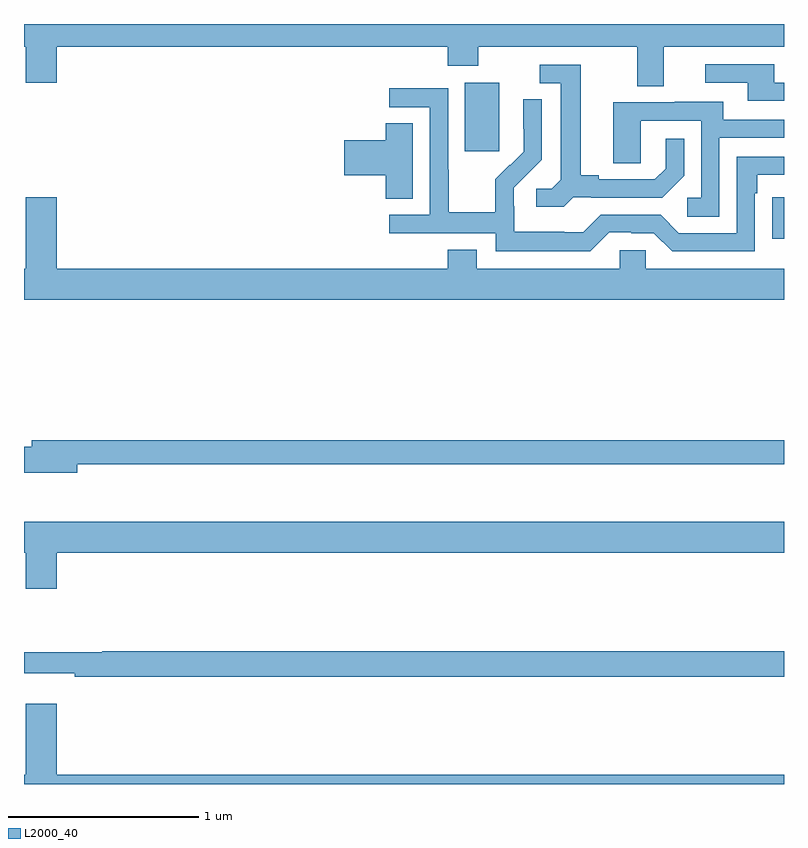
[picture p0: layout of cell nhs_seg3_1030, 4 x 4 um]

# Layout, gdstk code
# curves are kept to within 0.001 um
import gdstk
lib = gdstk.Library(unit=1e-6, precision=1e-09)
def R(c, l, rs):  # rectangles x0, y0, x1, y1
    for r in rs: c.add(gdstk.rectangle(r[:2], r[2:], *l))
def P(c, l, *ps):  # polygons
    for p in ps: c.add(gdstk.Polygon(p, *l))
L2000_40 = (2000, 40)

nhs_seg3_1030 = lib.new_cell('nhs_seg3_1030')
R(nhs_seg3_1030, L2000_40, [(168.937,669.27,169,669.488), (167.321,669.729,167.5,670.09)])
P(nhs_seg3_1030, L2000_40, [(168.367,670.28),(169,670.28),(169,670.4),(165,670.4),(165,670.28),(165.008,670.28),(165.008,670.092),(165.172,670.092),(165.172,670.28),(167.231,670.28),(167.231,670.181),(167.391,670.181),(167.391,670.28),(168.227,670.28),(168.227,670.072),(168.367,670.072)],
  [(169,670.092),(168.949,670.092),(168.949,670.188),(168.585,670.188),(168.585,670.092),(168.809,670.092),(168.809,669.996),(169,669.996)],
  [(167.892,669.489),(167.986,669.489),(167.986,669.486),(168.358,669.486),(168.474,669.602),(168.474,669.796),(168.377,669.796),(168.377,669.639),(168.32,669.582),(168.025,669.582),(168.025,669.605),(167.929,669.605),(167.929,670.185),(167.715,670.185),(167.715,670.089),(167.825,670.089),(167.825,669.581),(167.778,669.534),(167.697,669.534),(167.697,669.437),(167.84,669.437)],
  [(168.081,669.303),(168.197,669.303),(168.197,669.3),(168.315,669.3),(168.411,669.204),(168.846,669.204),(168.846,669.509),(168.859,669.509),(168.859,669.606),(169,669.606),(169,669.702),(168.75,669.702),(168.75,669.3),(168.447,669.3),(168.351,669.396),(168.036,669.396),(167.943,669.303),(167.843,669.303),(167.843,669.307),(167.58,669.307),(167.58,669.441),(167.578,669.441),(167.578,669.538),(167.724,669.686),(167.724,670.004),(167.628,670.004),(167.628,669.85),(167.63,669.85),(167.63,669.728),(167.559,669.657),(167.556,669.66),(167.479,669.583),(167.479,669.409),(167.235,669.409),(167.235,669.632),(167.232,669.632),(167.232,670.062),(166.923,670.062),(166.923,669.963),(167.136,669.963),(167.136,669.396),(166.923,669.396),(166.923,669.3),(167.484,669.3),(167.484,669.203),(167.981,669.203)],
  [(168.66,669.801),(169,669.801),(169,669.897),(168.679,669.897),(168.679,669.991),(168.425,669.991),(168.425,669.987),(168.101,669.987),(168.101,669.667),(168.246,669.667),(168.246,669.891),(168.564,669.891),(168.564,669.486),(168.492,669.486),(168.492,669.385),(168.66,669.385)],
  [(167.047,669.878),(166.904,669.878),(166.904,669.788),(166.686,669.788),(166.686,669.605),(166.904,669.605),(166.904,669.481),(167.047,669.481)],
  [(169,669.112),(168.273,669.112),(168.273,669.21),(168.135,669.21),(168.135,669.112),(167.383,669.112),(167.383,669.211),(167.231,669.211),(167.231,669.112),(165.172,669.112),(165.172,669.487),(165.008,669.487),(165.008,669.112),(165,669.112),(165,668.948),(169,668.948)],
  [(165.28,668.082),(169,668.082),(169,668.21),(165.041,668.21),(165.041,668.174),(165,668.174),(165,668.039),(165.28,668.039)],
  [(165.172,667.616),(169,667.616),(169,667.78),(165,667.78),(165,667.616),(165.008,667.616),(165.008,667.428),(165.172,667.428)],
  [(169,667.1),(165.413,667.1),(165.413,667.093),(165,667.093),(165,666.983),(165.268,666.983),(165.268,666.964),(169,666.964)],
  [(169,666.448),(165.172,666.448),(165.172,666.823),(165.008,666.823),(165.008,666.448),(165,666.448),(165,666.4),(169,666.4)])

lib.write_gds('nhs_seg3_1030.gds')
